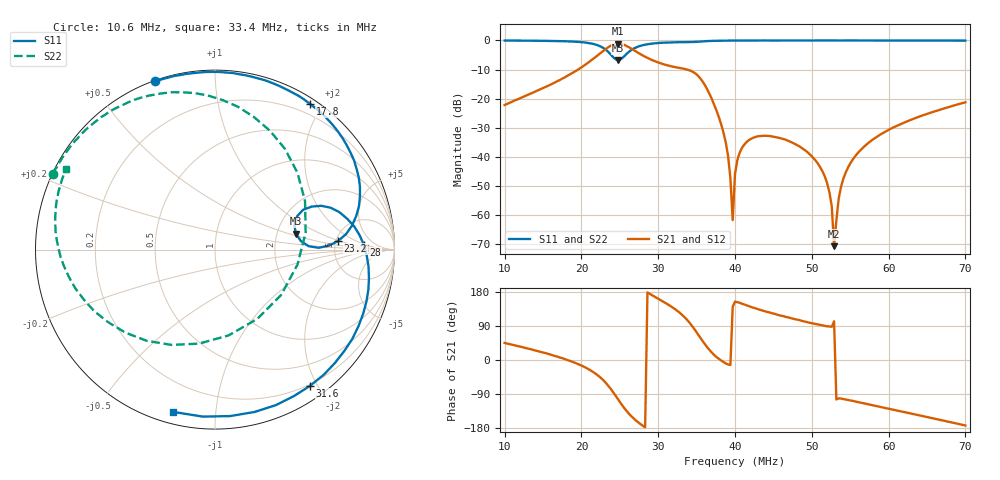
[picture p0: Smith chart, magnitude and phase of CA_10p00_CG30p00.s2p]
#  HZ  S  RI  R  50.00
! Rohde & Schwarz ZVT8 8Ports - Version 4.11 - 1300.0000k08 SN: 100242
! Date: 2026-07-31 14:11:46
! Measurements: S11 S21 S12 S22
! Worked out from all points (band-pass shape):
!   201 points, 10 MHz to 70 MHz, reference 50 ohm
!   highest |S21| = -1.09 dB at 24.7 MHz (marker M1); lowest = -70.6 dB at 52.9 MHz (marker M2)
!   |S21| within 3 dB of the highest: 22.6 MHz to 27.29 MHz (4.695 MHz wide, 18.8 % of centre)
!   lowest |S11| = -6.8 dB at 24.7 MHz (marker M3), VSWR 2.70, Z = 127 + j28.8 ohm
!   |S11| at or under -10 dB: nowhere
!   |S22| runs from -7.0 to 0.0 dB; largest |S21 - S12| = 0.0032
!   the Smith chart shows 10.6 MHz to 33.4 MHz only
!   S11 on the Smith chart (normalised r, x): 10.6 MHz: 0.00, +0.71; 17.8 MHz: 0.07, +1.85; 23.2 MHz: 5.23, +0.97; 28 MHz: 10, +2; 31.6 MHz: 0.18, -1.91; 33.4 MHz: 0.05, -0.77
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1e7  -0.4027 0.9112  0.0551 0.0551  0.0548 0.0552  -0.9147 0.3951
1.06e7  -0.3338 0.9372  0.0627 0.0567  0.0629 0.0566  -0.9036 0.4215
1.78e7  0.5308 0.8103  0.2303 0.0109  0.231 0.0114  -0.6116 0.7515
2.02e7  0.7541 0.5423  0.3445 -0.1024  0.3443 -0.1023  -0.3458 0.8619
2.32e7  0.6863 0.0487  0.3507 -0.6274  0.3498 -0.628  0.3901 0.5609
2.47e7  0.4507 0.0892  -0.1767 -0.8638  -0.1767 -0.8643  0.3677 -0.2535
2.8e7  0.8294 0.0272  -0.5478 -0.061  -0.5494 -0.0637  -0.8135 -0.1529
3.01e7  0.8 -0.4253  -0.3904 0.1385  -0.3907 0.1374  -0.8903 0.1743
3.16e7  0.5303 -0.7584  -0.2871 0.2213  -0.2875 0.2223  -0.8718 0.3235
3.34e7  -0.235 -0.9039  -0.13 0.2982  -0.1298 0.2978  -0.8305 0.4471
3.49e7  -0.9407 -0.0886  0.064 0.2601  0.0623 0.2596  -0.8045 0.5237
3.64e7  -0.2252 0.9486  0.1198 0.0784  0.1198 0.0782  -0.7761 0.6108
3.88e7  0.899 0.4237  0.0174 -0.00281  0.0173 -0.00274  -0.6907 0.7214
3.97e7  0.9841 0.1414  -0.000633 0.000528  -0.000669 0.000608  -0.6564 0.7511
4e7  0.9934 0.0565  -0.00458 0.00224  -0.00456 0.00219  -0.6467 0.7616
4.3e7  0.8239 -0.5616  -0.0157 0.0163  -0.0157 0.0162  -0.5388 0.8413
5.02e7  -0.0737 -0.9953  -0.00109 0.00953  -0.00114 0.0096  -0.28 0.9573
5.23e7  -0.3302 -0.9419  6.06e-05 0.00245  7.28e-05 0.00246  -0.2027 0.9767
5.29e7  -0.3991 -0.9148  -6.21e-05 0.000288  -4.04e-05 0.000284  -0.1808 0.9804
5.44e7  -0.5569 -0.8278  -0.0013 -0.00517  -0.00132 -0.00519  -0.1255 0.9893
6.01e7  -0.9484 -0.3043  -0.0186 -0.0231  -0.0186 -0.023  0.0908 0.9926
7e7  -0.6694 0.7332  -0.086 -0.0109  -0.086 -0.0108  0.4635 0.8791
